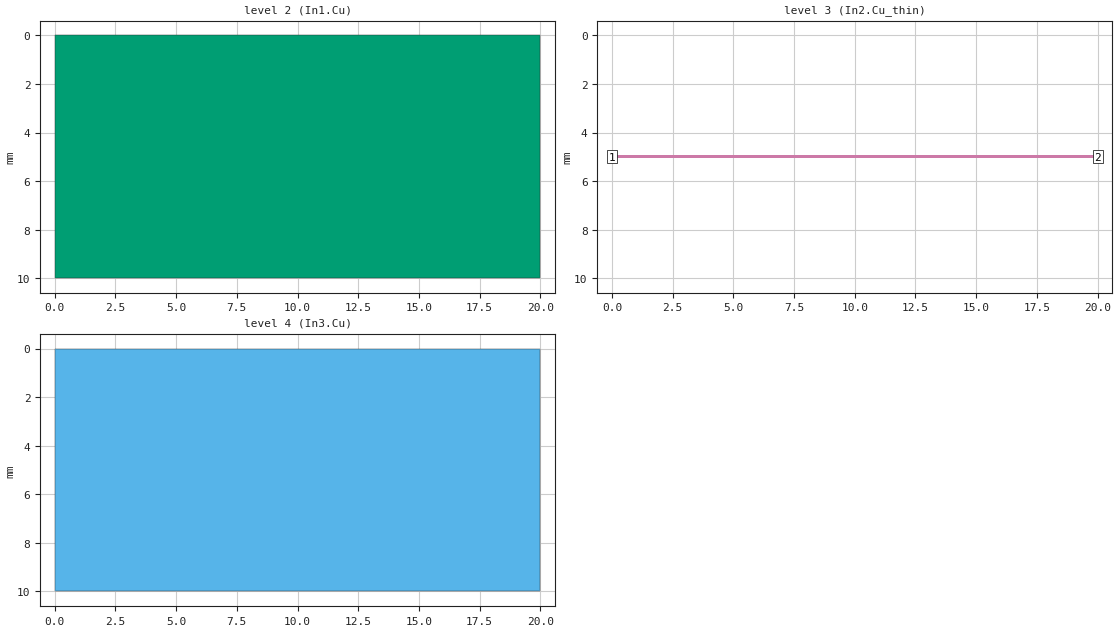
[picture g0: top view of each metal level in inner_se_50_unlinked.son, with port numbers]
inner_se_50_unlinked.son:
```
FTYP SONPROJ 19 ! Sonnet Project File
VER 18.56
HEADER
LIC antikernel2.1.52448
DAT 12/18/2023 01:18:04
BUILT_BY_CREATED xgeom 18.52 11/18/2021 20:28:07
BUILT_BY_SAVED sonnet 18.56
MDATE 12/18/2023 01:18:04
HDATE 12/18/2023 01:18:04
END HEADER
DIM
ANG DEG
CAP PF
CON /OH
FREQ GHZ
IND NH
LNG MM
RES OH
END DIM
CONTROL
VARSWP
OPTIONS  -dj
SPEED 0
CACHE_ABS 2
Q_ACC N
END CONTROL
GEO
SYM
TMET "Free Space" 0 FREESPACE 376.7303136 0 0 0
BMET "Free Space" 0 FREESPACE 376.7303136 0 0 0
MET "Copper_1oz_thin" 1 NOR 58000000 0.5 0.035 
MET "Copper_1oz_thick" 2 TMM 58000000 0.5 0.035 2
MET "Copper_1oz_thick_down" 3 TMM 58000000 0.5 0.035 2 CDVY TDWN
MET "Copper_0.5oz_thin" 4 NOR 58000000 0.5 0.017 
MET "Copper_0.5oz_thick" 12 TMM 58000000 0.5 0.017 2
MET "Copper_0.5oz_thick_down" 5 TMM 58000000 0.5 0.017 2 CDVY TDWN
BOX 12 20 10 4000 2000 20 0
      5 1 1 0 0 0 0 "Air"
      0.04 3.5 1 0.025 0 0 0 "Soldermask"
      0.071 3.9 1 0.008 0 0 0 "TU-872_SLK"
      0.1 3.9 1 0.008 0 0 0 "TU-872_SLK"
      0.119 3.9 1 0.008 0 0 0 "TU-872_SLK"
      0.1 4.49 1 0.016 0 0 0 "Shengyi_S1000-2M"
      0.5 4.49 1 0.016 0 0 0 "Shengyi_S1000-2M"
      0.1 4.49 1 0.016 0 0 0 "Shengyi_S1000-2M"
      0.119 3.9 1 0.008 0 0 0 "TU-872_SLK"
      0.1 3.9 1 0.008 0 0 0 "TU-872_SLK"
      0.071 3.9 1 0.008 0 0 0 "TU-872_SLK"
      0.04 3.5 1 0.025 0 0 0 "Soldermask"
      5 1 1 0 0 0 0 "Air"
TECHLAY METAL F.Cu_thin <UNSPECIFIED> -1 -65534 CAD F.Cu_thin drawing 
1 0 0 N 120 1 1 100 100 0 0 0 Y
END
END
TECHLAY METAL F.Cu_thick <UNSPECIFIED> -2 -65534 CAD F.Cu_thick drawing 
1 0 1 N 124 1 1 100 100 0 0 0 Y
END
END
TECHLAY VIA Via1 <UNSPECIFIED> -13 -65534 CAD Via1 drawing 
VIA POLYGON
1 0 -1 N 179 1 1 100 100 0 0 0 Y
TOLEVEL 10 RING NOCOVERS
END
END
TECHLAY METAL In1.Cu <UNSPECIFIED> -3 -65534 CAD In1.Cu drawing 
2 0 0 N 129 1 1 100 100 0 0 0 Y
END
END
TECHLAY METAL In2.Cu_thin <UNSPECIFIED> -4 -65534 CAD In2.Cu drawing 
3 0 3 N 132 1 1 100 100 0 0 0 Y
END
END
TECHLAY METAL In2.Cu_thick <UNSPECIFIED> -5 -65534 CAD In2.Cu_thick drawing 
3 0 4 N 134 1 1 100 100 0 0 0 Y
END
END
TECHLAY METAL In3.Cu <UNSPECIFIED> -6 -65534 CAD In3.Cu drawing 
4 0 0 N 137 1 1 100 100 0 0 0 Y
END
END
TECHLAY METAL In4.Cu <UNSPECIFIED> -7 -65534 CAD In4.Cu drawing 
5 0 0 N 140 1 1 100 100 0 0 0 Y
END
END
TECHLAY METAL In7.Cu_thin <UNSPECIFIED> -8 -65534 CAD In5.Cu drawing 
8 0 3 N 143 1 1 100 100 0 0 0 Y
END
END
TECHLAY METAL In7.Cu_thick <UNSPECIFIED> -9 -65534 CAD In5.Cu_thick drawing 
8 0 5 N 145 1 1 100 100 0 0 0 Y
END
END
TECHLAY METAL In5.Cu <UNSPECIFIED> -14 0 
6 0 0 N 171 1 1 100 100 0 0 0 Y
END
END
TECHLAY METAL In6.Cu <UNSPECIFIED> -15 0 
7 0 0 N 173 1 1 100 100 0 0 0 Y
END
END
TECHLAY METAL In8.Cu <UNSPECIFIED> -10 -65534 CAD In6.Cu drawing 
9 0 0 N 148 1 1 100 100 0 0 0 Y
END
END
TECHLAY METAL B.Cu_thin <UNSPECIFIED> -11 -65534 CAD B.Cu_thin drawing 
10 0 0 N 151 1 1 100 100 0 0 0 Y
END
END
TECHLAY METAL B.Cu_thick <UNSPECIFIED> -12 -65534 CAD B.Cu_thick drawing 
10 0 2 N 153 1 1 100 100 0 0 0 Y
END
END
VALVAR WIDTH LNG 0.106 "Dim. Param."
VALVAR CORE_ER NONE "table1(\"../../sata-sniffer/sims/core_er.csv\",FREQ)" "Variable set in material file"
VALVAR CORE_DF NONE "table1(\"../../sata-sniffer/sims/core_df.csv\",FREQ)" "Variable set in material file"
VALVAR PREPREG_DF NONE "table1(\"../../sata-sniffer/sims/prepreg_df.csv\",FREQ)" "Variable set in material file"
VALVAR PREPREG_ER NONE "table1(\"../../sata-sniffer/sims/prepreg_er.csv\",FREQ)" "Variable set in material file"
LORGN 0 10 U 
POR1 BOX
POLY 104 1
3
1 50 0 0 0 0 5 
POR1 BOX
POLY 104 1
1
2 50 0 0 0 20 5 
NUM 3
2 5 0 N 103 1 1 100 100 0 0 0 Y
TLAYNAM In1.Cu INH
0 0
20 0
20 10
0 10
0 0
END
3 5 3 N 104 1 1 100 100 0 0 0 Y
TLAYNAM In2.Cu_thin INH
0 4.947
20 4.947
20 5.053
0 5.053
0 4.947
END
4 5 0 N 184 1 1 100 100 0 0 0 Y
TLAYNAM In3.Cu INH
0 0
20 0
20 10
0 10
0 0
END
END GEO
OPT
MAX 100
END OPT
VARSWP
ENABLED Y
FREQ Y AY ABS_ENTRY 0.001 16.0 -1 300 
VAR WIDTH Y 0.08 0.22 0.02
END
END VARSWP
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```
